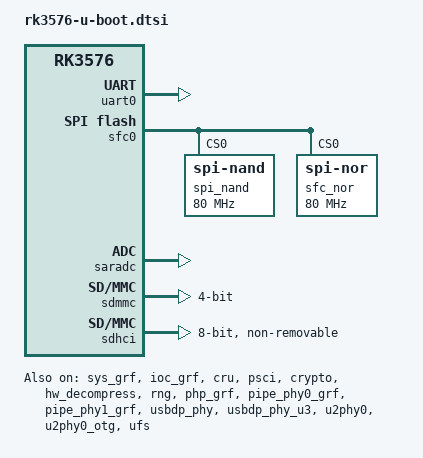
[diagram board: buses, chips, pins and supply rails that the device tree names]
/*
 * (C) Copyright 2023 Rockchip Electronics Co., Ltd
 *
 * SPDX-License-Identifier:     GPL-2.0+
 */

#include <dt-bindings/gpio/gpio.h>

/ {
	aliases {
		mmc0 = &sdhci;
		mmc1 = &sdmmc;
	};

	chosen {
		stdout-path = &uart0;
		u-boot,spl-boot-order = &sdmmc, &spi_nand, &spi_nor, "same-as-spl";
	};

	secure-otp@2a480000 {
		u-boot,dm-spl;
		compatible = "rockchip,rk3576-secure-otp";
		reg = <0x0 0x2a480000 0x0 0x10000>;
	};
};

&firmware {
	u-boot,dm-pre-reloc;
};

&gpio0 {
	u-boot,dm-spl;
	status = "okay";
};

&gpio1 {
	u-boot,dm-pre-reloc;
	status = "okay";
};

&gpio2 {
	u-boot,dm-pre-reloc;
	status = "okay";
};

&gpio3 {
	u-boot,dm-pre-reloc;
	status = "okay";
};

&gpio4 {
	u-boot,dm-pre-reloc;
	status = "okay";
};

&scmi {
	u-boot,dm-pre-reloc;
};

&scmi_clk {
	u-boot,dm-pre-reloc;
};

&scmi_shmem {
	u-boot,dm-pre-reloc;
};

&sys_grf {
	u-boot,dm-spl;
	status = "okay";
};

&ioc_grf {
	u-boot,dm-spl;
	status = "okay";
};

&cru {
	u-boot,dm-spl;
	status = "okay";
};

&psci {
	u-boot,dm-pre-reloc;
	status = "okay";
};

&crypto {
	u-boot,dm-spl;
	status = "okay";
};

&uart0 {
	u-boot,dm-spl;
	status = "okay";
};

&hw_decompress {
	u-boot,dm-spl;
	status = "okay";
};

&rng {
	u-boot,dm-pre-reloc;
	status = "okay";
};

&sfc0 {
	u-boot,dm-spl;
	status = "okay";

	#address-cells = <1>;
	#size-cells = <0>;
	spi_nand: flash@0 {
		u-boot,dm-spl;
		compatible = "spi-nand";
		reg = <0>;
		spi-tx-bus-width = <1>;
		spi-rx-bus-width = <4>;
		spi-max-frequency = <80000000>;
	};

	spi_nor: flash@1 {
		u-boot,dm-spl;
		compatible = "jedec,spi-nor";
		label = "sfc_nor";
		reg = <0>;
		spi-tx-bus-width = <1>;
		spi-rx-bus-width = <4>;
		spi-max-frequency = <80000000>;
	};
};

&saradc {
	u-boot,dm-pre-reloc;
	status = "okay";
};

&sdmmc {
	bus-width = <4>;
	u-boot,dm-spl;
	pwr-en-gpios = <&gpio0 RK_PB6 GPIO_ACTIVE_HIGH>;
	status = "okay";
};

&sdhci {
	bus-width = <8>;
	u-boot,dm-spl;
	mmc-hs400-1_8v;
	mmc-hs400-enhanced-strobe;
	non-removable;
	status = "okay";
};

&sdmmc0 {
	u-boot,dm-spl;
};

&sdmmc0_bus4 {
	u-boot,dm-spl;
};

&sdmmc0_clk {
	u-boot,dm-spl;
};

&sdmmc0_cmd {
	u-boot,dm-spl;
};

&sdmmc0_det {
	u-boot,dm-spl;
};

&pinctrl {
	u-boot,dm-spl;
};

&pcfg_pull_up_drv_level_2 {
	u-boot,dm-spl;
};

&pcfg_pull_up {
	u-boot,dm-spl;
};

&pcfg_pull_none
{
	u-boot,dm-spl;
};

&php_grf {
	u-boot,dm-pre-reloc;
	status = "okay";
};

&pipe_phy0_grf {
	u-boot,dm-pre-reloc;
	status = "okay";
};

&pipe_phy1_grf {
	u-boot,dm-pre-reloc;
	status = "okay";
};

&usbdpphy_grf {
	u-boot,dm-pre-reloc;
};

&usbdp_phy {
	u-boot,dm-pre-reloc;
	status = "okay";
};

&usbdp_phy_u3 {
	u-boot,dm-pre-reloc;
	status = "okay";
};

&usb_grf {
	u-boot,dm-pre-reloc;
};

&usb2phy_grf {
	u-boot,dm-pre-reloc;
};

&u2phy0 {
	u-boot,dm-pre-reloc;
	status = "okay";
};

&u2phy0_otg {
	u-boot,dm-pre-reloc;
	status = "okay";
};

&ufs {
	u-boot,dm-spl;
	status = "okay";
};
